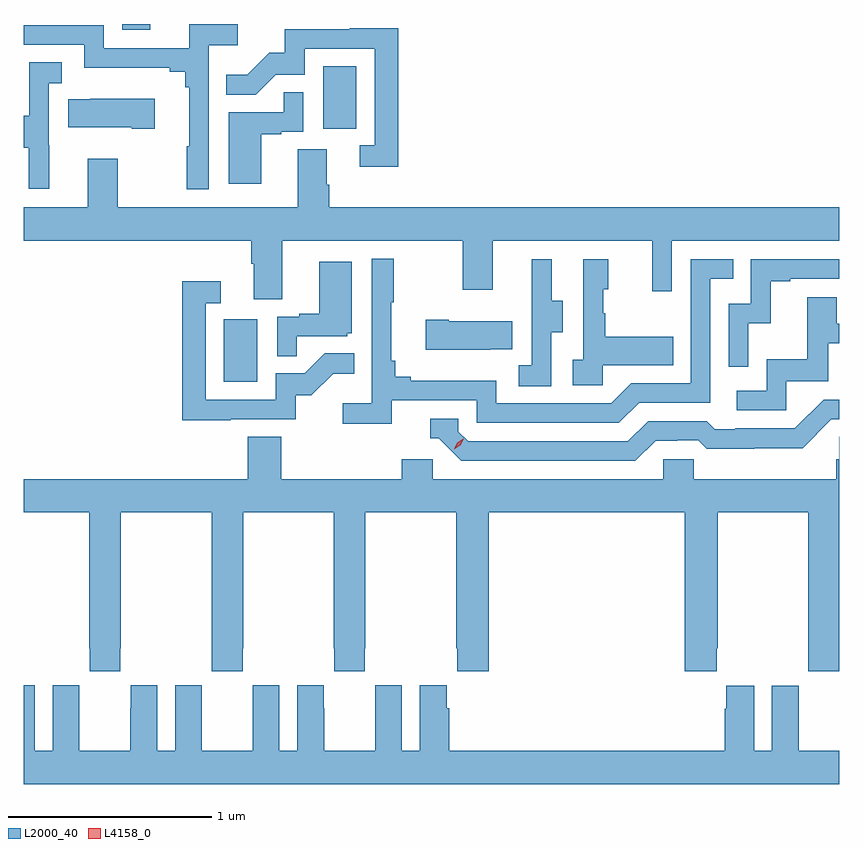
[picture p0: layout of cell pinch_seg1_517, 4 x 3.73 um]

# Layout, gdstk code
import gdstk
lib = gdstk.Library(unit=1e-6, precision=1e-09)
def R(c, l, rs):  # rectangles x0, y0, x1, y1
    for r in rs: c.add(gdstk.rectangle(r[:2], r[2:], *l))
def P(c, l, *ps):  # polygons
    for p in ps: c.add(gdstk.Polygon(p, *l))
L2000_40 = (2000, 40)
L4158_0 = (4158, 0)

pinch_seg1_517 = lib.new_cell('pinch_seg1_517')
R(pinch_seg1_517, L2000_40, [(1031.342,536.388,1031.506,536.695), (1031.828,537.63,1031.992,537.937), (1030.842,538.116,1030.981,538.144)])
P(pinch_seg1_517, L2000_40, [(1031.268,538.04),(1031.41,538.04),(1031.41,538.142),(1031.171,538.142),(1031.171,538.026),(1030.752,538.026),(1030.752,538.137),(1030.36,538.137),(1030.36,538.041),(1030.656,538.041),(1030.656,537.929),(1031.075,537.929),(1031.075,537.91),(1031.152,537.91),(1031.152,537.833),(1031.171,537.833),(1031.171,537.545),(1031.16,537.545),(1031.16,537.333),(1031.268,537.333)],
  [(1032.197,538.124),(1031.959,538.124),(1031.959,538.119),(1031.641,538.119),(1031.641,538.002),(1031.564,538.002),(1031.457,537.895),(1031.353,537.895),(1031.353,537.796),(1031.497,537.796),(1031.595,537.894),(1031.739,537.894),(1031.739,538.023),(1032.081,538.023),(1032.081,537.549),(1032.009,537.549),(1032.009,537.444),(1032.197,537.444)],
  [(1030.484,537.549),(1030.482,537.549),(1030.482,537.853),(1030.546,537.853),(1030.546,537.956),(1030.386,537.956),(1030.386,537.693),(1030.36,537.693),(1030.36,537.538),(1030.385,537.538),(1030.385,537.336),(1030.484,537.336)],
  [(1031.524,537.603),(1031.624,537.603),(1031.624,537.615),(1031.73,537.615),(1031.73,537.809),(1031.635,537.809),(1031.635,537.711),(1031.366,537.711),(1031.366,537.36),(1031.524,537.36)],
  [(1031.002,537.778),(1030.687,537.778),(1030.687,537.775),(1030.579,537.775),(1030.579,537.638),(1030.889,537.638),(1030.889,537.631),(1031.002,537.631)],
  [(1031.629,537.08),(1032.514,537.08),(1032.514,536.841),(1032.661,536.841),(1032.661,537.08),(1033.442,537.08),(1033.442,536.832),(1033.539,536.832),(1033.539,537.08),(1034.36,537.08),(1034.36,537.244),(1031.858,537.244),(1031.858,537.356),(1031.845,537.356),(1031.845,537.53),(1031.705,537.53),(1031.705,537.244),(1030.821,537.244),(1030.821,537.484),(1030.673,537.484),(1030.673,537.244),(1030.36,537.244),(1030.36,537.08),(1031.477,537.08),(1031.477,536.968),(1031.489,536.968),(1031.489,536.794),(1031.629,536.794)],
  [(1032.164,536.298),(1032.582,536.298),(1032.582,536.187),(1033.279,536.187),(1033.378,536.286),(1033.728,536.286),(1033.728,536.895),(1033.841,536.895),(1033.841,536.991),(1033.632,536.991),(1033.632,536.382),(1033.341,536.382),(1033.242,536.283),(1032.678,536.283),(1032.678,536.395),(1032.259,536.395),(1032.259,536.414),(1032.182,536.414),(1032.182,536.491),(1032.163,536.491),(1032.163,536.779),(1032.175,536.779),(1032.175,536.992),(1032.066,536.992),(1032.066,536.284),(1031.925,536.284),(1031.925,536.182),(1032.164,536.182)],
  [(1033.914,536.675),(1034.024,536.675),(1034.024,536.883),(1034.119,536.883),(1034.119,536.895),(1034.36,536.895),(1034.36,536.991),(1033.926,536.991),(1033.926,536.772),(1033.818,536.772),(1033.818,536.463),(1033.914,536.463)],
  [(1032.948,536.632),(1033.003,536.632),(1033.003,536.787),(1032.949,536.787),(1032.949,536.989),(1032.851,536.989),(1032.851,536.775),(1032.852,536.775),(1032.852,536.471),(1032.789,536.471),(1032.789,536.368),(1032.948,536.368)],
  [(1033.2,536.471),(1033.547,536.471),(1033.547,536.611),(1033.213,536.611),(1033.213,536.726),(1033.203,536.726),(1033.203,536.844),(1033.228,536.844),(1033.228,536.989),(1033.104,536.989),(1033.104,536.498),(1033.053,536.498),(1033.053,536.373),(1033.2,536.373)],
  [(1031.699,536.613),(1031.946,536.613),(1031.946,536.628),(1031.968,536.628),(1031.968,536.977),(1031.81,536.977),(1031.81,536.722),(1031.711,536.722),(1031.711,536.709),(1031.604,536.709),(1031.604,536.515),(1031.699,536.515)],
  [(1031.375,536.205),(1031.694,536.205),(1031.694,536.322),(1031.77,536.322),(1031.877,536.429),(1031.981,536.429),(1031.981,536.528),(1031.837,536.528),(1031.739,536.43),(1031.595,536.43),(1031.595,536.301),(1031.253,536.301),(1031.253,536.775),(1031.326,536.775),(1031.326,536.881),(1031.137,536.881),(1031.137,536.2),(1031.375,536.2)],
  [(1034.1,536.391),(1034.305,536.391),(1034.305,536.577),(1034.36,536.577),(1034.36,536.673),(1034.347,536.673),(1034.347,536.803),(1034.203,536.803),(1034.203,536.5),(1034.004,536.5),(1034.004,536.346),(1033.857,536.346),(1033.857,536.25),(1034.1,536.25)],
  [(1032.647,536.549),(1032.755,536.549),(1032.755,536.686),(1032.445,536.686),(1032.445,536.694),(1032.333,536.694),(1032.333,536.546),(1032.647,536.546)],
  [(1033.459,536.1),(1033.566,536.1),(1033.566,536.103),(1033.669,536.103),(1033.711,536.061),(1033.944,536.061),(1033.944,536.063),(1034.18,536.063),(1034.322,536.205),(1034.36,536.205),(1034.36,536.301),(1034.283,536.301),(1034.142,536.16),(1033.849,536.16),(1033.849,536.157),(1033.75,536.157),(1033.711,536.196),(1033.422,536.196),(1033.323,536.097),(1032.54,536.097),(1032.492,536.145),(1032.492,536.208),(1032.353,536.208),(1032.353,536.112),(1032.396,536.112),(1032.507,536.001),(1033.36,536.001)],
  [(1030.833,535.081),(1030.836,535.081),(1030.836,535.748),(1031.281,535.748),(1031.281,535.081),(1031.283,535.081),(1031.283,534.969),(1031.433,534.969),(1031.433,535.081),(1031.436,535.081),(1031.436,535.748),(1031.881,535.748),(1031.881,535.081),(1031.883,535.081),(1031.883,534.969),(1032.033,534.969),(1032.033,535.081),(1032.036,535.081),(1032.036,535.748),(1032.481,535.748),(1032.481,535.081),(1032.487,535.081),(1032.487,534.969),(1032.641,534.969),(1032.641,535.748),(1033.603,535.748),(1033.603,534.969),(1033.759,534.969),(1033.759,535.081),(1033.764,535.081),(1033.764,535.748),(1034.209,535.748),(1034.209,534.969),(1034.36,534.969),(1034.36,536.12),(1034.359,536.12),(1034.359,536.01),(1034.345,536.01),(1034.345,535.912),(1033.647,535.912),(1033.647,536.01),(1033.497,536.01),(1033.497,535.912),(1032.366,535.912),(1032.366,536.01),(1032.215,536.01),(1032.215,535.912),(1031.624,535.912),(1031.624,536.12),(1031.459,536.12),(1031.459,535.912),(1030.36,535.912),(1030.36,535.748),(1030.68,535.748),(1030.68,535.081),(1030.683,535.081),(1030.683,534.969),(1030.833,534.969)],
  [(1032.302,534.901),(1032.302,534.58),(1032.214,534.58),(1032.214,534.901),(1032.084,534.901),(1032.084,534.788),(1032.083,534.788),(1032.083,534.58),(1031.833,534.58),(1031.833,534.788),(1031.832,534.788),(1031.832,534.901),(1031.702,534.901),(1031.702,534.58),(1031.614,534.58),(1031.614,534.901),(1031.484,534.901),(1031.484,534.788),(1031.483,534.788),(1031.483,534.58),(1031.233,534.58),(1031.233,534.788),(1031.232,534.788),(1031.232,534.901),(1031.102,534.901),(1031.102,534.58),(1031.014,534.58),(1031.014,534.901),(1030.884,534.901),(1030.884,534.788),(1030.883,534.788),(1030.883,534.58),(1030.633,534.58),(1030.633,534.788),(1030.632,534.788),(1030.632,534.901),(1030.502,534.901),(1030.502,534.58),(1030.414,534.58),(1030.414,534.901),(1030.36,534.901),(1030.36,534.416),(1034.36,534.416),(1034.36,534.58),(1034.161,534.58),(1034.161,534.898),(1034.03,534.898),(1034.03,534.58),(1033.942,534.58),(1033.942,534.898),(1033.805,534.898),(1033.805,534.785),(1033.799,534.785),(1033.799,534.58),(1032.446,534.58),(1032.446,534.788),(1032.436,534.788),(1032.436,534.901)])
P(pinch_seg1_517, L4158_0, [(1032.471,536.057),(1032.471,536.057),(1032.486,536.09),(1032.516,536.11),(1032.517,536.11),(1032.517,536.11),(1032.502,536.077),(1032.471,536.057)])

lib.write_gds('pinch_seg1_517.gds')
